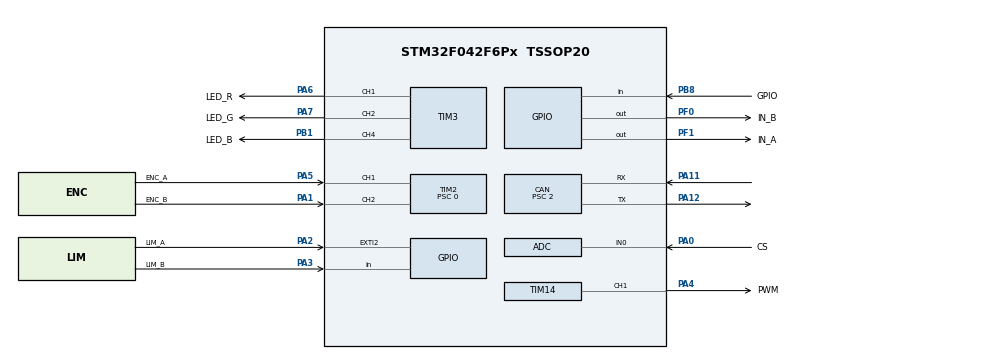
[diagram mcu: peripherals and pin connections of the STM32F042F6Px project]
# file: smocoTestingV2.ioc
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ADC.AWD1LowThreshold=0
ADC.Channel-IN0=ADC_CHANNEL_0
ADC.ClockPrescaler=ADC_CLOCK_ASYNC_DIV1
ADC.ContinuousConvMode=DISABLE
ADC.DMAContinuousRequests=DISABLE
ADC.DataAlign=ADC_DATAALIGN_RIGHT
ADC.DiscontinuousConvMode=DISABLE
ADC.EOCSelection=ADC_EOC_SINGLE_CONV
ADC.EnableAnalogWatchDog=false
ADC.ExternalTrigConv=ADC_SOFTWARE_START
ADC.ExternalTrigConvEdge=ADC_EXTERNALTRIGCONVEDGE_NONE
ADC.LowPowerAutoPowerOff=DISABLE
ADC.LowPowerAutoWait=DISABLE
ADC.NbrOfConversion=1
ADC.NbrOfConversionFlag=1
ADC.Overrun=ADC_OVR_DATA_PRESERVED
ADC.Rank-0\#ChannelRegularConversion=1
ADC.Resolution=ADC_RESOLUTION_12B
ADC.SamplingTime=ADC_SAMPLETIME_1CYCLE_5
ADC.ScanConvMode=ADC_SCAN_DIRECTION_FORWARD
ADC.master=1
CAN.BS1=CAN_BS1_2TQ
CAN.CalculateBaudRate=1000000
CAN.CalculateTimeBit=1000
CAN.CalculateTimeQuantum=250.0
CAN.NART=DISABLE
CAN.Prescaler=2
CAN.SJW=CAN_SJW_2TQ
Mcu.Family=STM32F0
Mcu.Name=STM32F042F6Px
Mcu.Package=TSSOP20
NVIC.EXTI2_3_IRQn=true\:0\:0\:false\:false\:true\:true\:true\:true
NVIC.TIM17_IRQn=true\:1\:0\:true\:false\:true\:true\:true\:true
NVIC.TIM1_CC_IRQn=true\:2\:0\:true\:false\:true\:true\:true\:true
PA0.GPIO_Label=CS
PA0.Mode=IN0
PA0.Signal=ADC_IN0
PA1.GPIO_Label=ENC_B
PA1.Signal=S_TIM2_CH2
PA11.GPIO_PuPd=GPIO_PULLUP
PA11.GPIO_Speed=GPIO_SPEED_FREQ_HIGH
PA11.Mode=CAN_Activate
PA11.Signal=CAN_RX
PA12.GPIO_PuPd=GPIO_NOPULL
PA12.GPIO_Speed=GPIO_SPEED_FREQ_HIGH
PA12.Mode=CAN_Activate
PA12.Signal=CAN_TX
PA13.Mode=Serial_Wire
PA13.Signal=SYS_SWDIO
PA14.Mode=Serial_Wire
PA14.Signal=SYS_SWCLK
PA2.GPIO_Label=LIM_A
PA2.GPIO_ModeDefaultEXTI=GPIO_MODE_IT_FALLING
PA2.GPIO_PuPd=GPIO_PULLUP
PA2.Signal=GPXTI2
PA3.GPIO_Label=LIM_B
PA3.GPIO_PuPd=GPIO_PULLUP
PA3.Signal=GPIO_Input
PA4.GPIO_Label=PWM
PA4.Signal=S_TIM14_CH1
PA5.GPIO_Label=ENC_A
PA5.Signal=S_TIM2_CH1_ETR
PA6.GPIO_Label=LED_R
PA6.Signal=S_TIM3_CH1
PA7.GPIO_Label=LED_G
PA7.Signal=S_TIM3_CH2
PB1.GPIO_Label=LED_B
PB1.Signal=S_TIM3_CH4
PB8.GPIO_Label=GPIO
PB8.Signal=GPIO_Input
PF0-OSC_IN.GPIO_Label=IN_B
PF0-OSC_IN.Signal=GPIO_Output
PF1-OSC_OUT.GPIO_Label=IN_A
PF1-OSC_OUT.Signal=GPIO_Output
ProjectManager.HeapSize=0x200
ProjectManager.StackSize=0x400
ProjectManager.TargetToolchain=STM32CubeIDE
SH.S_TIM14_CH1.0=TIM14_CH1,PWM Generation1 CH1
SH.S_TIM2_CH1_ETR.0=TIM2_CH1,Encoder_Interface
SH.S_TIM2_CH2.0=TIM2_CH2,Encoder_Interface
SH.S_TIM3_CH1.0=TIM3_CH1,PWM Generation1 CH1
SH.S_TIM3_CH2.0=TIM3_CH2,PWM Generation2 CH2
SH.S_TIM3_CH4.0=TIM3_CH4,PWM Generation4 CH4
TIM1.Channel-Output\ Compare1\ No\ Output=TIM_CHANNEL_1
TIM1.Channel-Output\ Compare2\ No\ Output=TIM_CHANNEL_2
TIM1.Channel-Output\ Compare3\ No\ Output=TIM_CHANNEL_3
TIM1.Channel-Output\ Compare4\ No\ Output=TIM_CHANNEL_4
TIM1.ClockDivision=TIM_CLOCKDIVISION_DIV2
TIM1.Period=200-1
TIM1.Prescaler=4000-1
TIM1.Pulse-Output\ Compare2\ No\ Output=50
TIM1.Pulse-Output\ Compare3\ No\ Output=100
TIM1.Pulse-Output\ Compare4\ No\ Output=150
TIM14.AutoReloadPreload=TIM_AUTORELOAD_PRELOAD_DISABLE
TIM14.Channel=TIM_CHANNEL_1
TIM14.ClockDivision=TIM_CLOCKDIVISION_DIV1
TIM14.CounterMode=TIM_COUNTERMODE_UP
TIM14.OC1Preload_PWM=ENABLE
TIM14.OCFastMode_PWM=TIM_OCFAST_DISABLE
TIM14.OCMode_PWM=TIM_OCMODE_PWM1
TIM14.OCPolarity_1=TIM_OCPOLARITY_HIGH
TIM14.Period=65535
TIM14.Prescaler=0
TIM14.Pulse=0
TIM17.ClockDivision=TIM_CLOCKDIVISION_DIV1
TIM17.Period=40000-1
TIM17.Prescaler=4-1
TIM2.AutoReloadPreload=TIM_AUTORELOAD_PRELOAD_DISABLE
TIM2.ClockDivision=TIM_CLOCKDIVISION_DIV1
TIM2.CounterMode=TIM_COUNTERMODE_UP
TIM2.EncoderMode=TIM_ENCODERMODE_TI12
TIM2.IC1Filter=0
TIM2.IC1Polarity=TIM_ICPOLARITY_RISING
TIM2.IC1Prescaler=TIM_ICPSC_DIV1
TIM2.IC1Selection=TIM_ICSELECTION_DIRECTTI
TIM2.IC2Filter=0
TIM2.IC2Polarity=TIM_ICPOLARITY_RISING
TIM2.IC2Prescaler=TIM_ICPSC_DIV1
TIM2.IC2Selection=TIM_ICSELECTION_DIRECTTI
TIM2.Period=4294967295
TIM2.Prescaler=0
TIM2.TIM_MasterOutputTrigger=TIM_TRGO_RESET
TIM2.TIM_MasterSlaveMode=TIM_MASTERSLAVEMODE_DISABLE
TIM3.Channel-PWM\ Generation1\ CH1=TIM_CHANNEL_1
TIM3.Channel-PWM\ Generation2\ CH2=TIM_CHANNEL_2
TIM3.Channel-PWM\ Generation4\ CH4=TIM_CHANNEL_4
VP_SYS_VS_PINREMAP.Mode=PINREMAP
VP_TIM14_VS_ClockSourceINT.Mode=Enable_Timer
VP_TIM17_VS_ClockSourceINT.Mode=Enable_Timer
VP_TIM1_VS_ClockSourceINT.Mode=Internal
VP_TIM1_VS_no_output1.Mode=Output Compare1 No Output
VP_TIM1_VS_no_output2.Mode=Output Compare2 No Output
VP_TIM1_VS_no_output3.Mode=Output Compare3 No Output
VP_TIM1_VS_no_output4.Mode=Output Compare4 No Output
VP_TIM3_VS_ClockSourceINT.Mode=Internal
board=custom

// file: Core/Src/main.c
/* USER CODE BEGIN Header */
/**
  ******************************************************************************
  * @file           : main.c
  * @brief          : Main program body
  ******************************************************************************
  * @attention
  *
  * Copyright (c) 2026 STMicroelectronics.
  * All rights reserved.
  *
  * This software is licensed under terms that can be found in the LICENSE file
  * in the root directory of this software component.
  * If no LICENSE file comes with this software, it is provided AS-IS.
  *
  ******************************************************************************
  */
/* USER CODE END Header */
#include "main.h"
#include "adc.h"
#include "can.h"
#include "tim.h"
#include "gpio.h"

/* USER CODE BEGIN PV */
uint32_t TxMailbox;

CAN_FilterTypeDef sFilterConfig;
//CAN_TxHeaderTypeDef TxHeader;
//CAN_RxHeaderTypeDef RxHeader;
uint8_t RxData[8];
//uint8_t TxData[8];
CAN_TxHeaderTypeDef TxSpeedControlFrameHeader;
CAN_RxHeaderTypeDef RxFeedbackFrameHeader;

uint8_t TxSpeedControlData[4];

uint32_t lastTime = 0;

/* USER CODE END PV */

void SystemClock_Config(void);

int main(void)
{

  /* MCU Configuration--------------------------------------------------------*/

  /* Reset of all peripherals, Initializes the Flash interface and the Systick. */
  HAL_Init();

  /* Configure the system clock */
  SystemClock_Config();

  /* Initialize all configured peripherals */
  MX_GPIO_Init();
  MX_ADC_Init();
  MX_TIM2_Init();
  MX_TIM14_Init();
  MX_TIM1_Init();
  MX_TIM17_Init();
  MX_TIM3_Init();
  MX_CAN_Init();
  /* USER CODE BEGIN 2 */

  int32_t CH4_DC = 0;

  HAL_TIM_PWM_Start(&htim3, TIM_CHANNEL_4);

  uint8_t nodeID = 0;

   TxSpeedControlFrameHeader.IDE = CAN_ID_STD;
   TxSpeedControlFrameHeader.StdId = 0x200 + nodeID;
   TxSpeedControlFrameHeader.RTR = CAN_RTR_DATA;
   TxSpeedControlFrameHeader.DLC = 4;
   uint8_t TxSpeedControlData[4];

   uint32_t speed = 4095; //0xFFFFFFFF
   TxSpeedControlData[0] = speed & 0x000000FF;
   TxSpeedControlData[1] = speed & (0x000000FF << 8);
   TxSpeedControlData[2] = speed & (0x000000FF << 16);
   TxSpeedControlData[3] = speed & (0x000000FF << 24);

  /* The CAN filter configuration */
   sFilterConfig.FilterBank = 0;
   sFilterConfig.FilterMode = CAN_FILTERMODE_IDMASK;
   sFilterConfig.FilterScale = CAN_FILTERSCALE_32BIT;
   sFilterConfig.FilterIdHigh = 0x0000;
   sFilterConfig.FilterIdLow = 0x0000;
   sFilterConfig.FilterMaskIdHigh = 0x0000;
   sFilterConfig.FilterMaskIdLow = 0x0000;
   sFilterConfig.FilterFIFOAssignment = CAN_RX_FIFO0; /* The data will be received in FIFO0 */
   sFilterConfig.FilterActivation = ENABLE;
   sFilterConfig.SlaveStartFilterBank = 14;
   if (HAL_CAN_ConfigFilter(&hcan, &sFilterConfig) != HAL_OK)
   {
   /* Filter configuration Error */
   Error_Handler();
   }
   /* Starting the CAN peripheral */
   if (HAL_CAN_Start(&hcan) != HAL_OK)
   {
   /* Start Error */
   Error_Handler();
   }
   /* Activate CAN RX notification on FIFO0 */
   if (HAL_CAN_ActivateNotification(&hcan, CAN_IT_RX_FIFO0_MSG_PENDING) != HAL_OK)
   {
   /* Notification Error */
   Error_Handler();
   }

   void HAL_CAN_RxFifo0MsgPendingCallback(CAN_HandleTypeDef *CanHandle)
   {
    /* Get RX message */
    if (HAL_CAN_GetRxMessage(CanHandle, CAN_RX_FIFO0, &RxFeedbackFrameHeader, RxData) != HAL_OK)
    {
    /* Reception Error */
    Error_Handler();
    }
   }

  /* USER CODE END 2 */

  /* Infinite loop */
  while (1)
  {

    /* USER CODE BEGIN 3 */

	  	 while(CH4_DC < 65535)
	  	 {
	  	   TIM3->CCR4 = CH4_DC;
	  	   CH4_DC += 70;
	  	   HAL_Delay(1);
	  	}
	  	while(CH4_DC > 0)
	  	{
	  	     TIM3->CCR4 = CH4_DC;
	  	     CH4_DC -= 70;
	  	     HAL_Delay(1);
	  	}

	  	  if (HAL_CAN_AddTxMessage(&hcan, &TxSpeedControlFrameHeader, TxSpeedControlData, &TxMailbox) == HAL_OK)
	  	  {
	  		  HAL_GPIO_WritePin(GPIOF, IN_B_Pin,GPIO_PIN_SET);
	  		  while(HAL_CAN_IsTxMessagePending(&hcan,TxMailbox));
//	  		  HAL_GPIO_WritePin(GPIOF, IN_B_Pin,GPIO_PIN_RESET);

	  	  }

  }
  /* USER CODE END 3 */
}

void SystemClock_Config(void)
{
  RCC_OscInitTypeDef RCC_OscInitStruct = {0};
  RCC_ClkInitTypeDef RCC_ClkInitStruct = {0};

  /** Initializes the RCC Oscillators according to the specified parameters
  * in the RCC_OscInitTypeDef structure.
  */
  RCC_OscInitStruct.OscillatorType = RCC_OSCILLATORTYPE_HSI|RCC_OSCILLATORTYPE_HSI14;
  RCC_OscInitStruct.HSIState = RCC_HSI_ON;
  RCC_OscInitStruct.HSI14State = RCC_HSI14_ON;
  RCC_OscInitStruct.HSICalibrationValue = RCC_HSICALIBRATION_DEFAULT;
  RCC_OscInitStruct.HSI14CalibrationValue = 16;
  RCC_OscInitStruct.PLL.PLLState = RCC_PLL_NONE;
  if (HAL_RCC_OscConfig(&RCC_OscInitStruct) != HAL_OK)
  {
    Error_Handler();
  }

  /** Initializes the CPU, AHB and APB buses clocks
  */
  RCC_ClkInitStruct.ClockType = RCC_CLOCKTYPE_HCLK|RCC_CLOCKTYPE_SYSCLK
                              |RCC_CLOCKTYPE_PCLK1;
  RCC_ClkInitStruct.SYSCLKSource = RCC_SYSCLKSOURCE_HSI;
  RCC_ClkInitStruct.AHBCLKDivider = RCC_SYSCLK_DIV1;
  RCC_ClkInitStruct.APB1CLKDivider = RCC_HCLK_DIV1;

  if (HAL_RCC_ClockConfig(&RCC_ClkInitStruct, FLASH_LATENCY_0) != HAL_OK)
  {
    Error_Handler();
  }
}

/* USER CODE BEGIN 4 */
void HAL_GPIO_EXTI_Callback(uint16_t GPIO_Pin_IN) {
//	if (GPIO_Pin_IN == LIM_A_Pin) {
//		uint32_t currTime = HAL_GetTick();
//		if ((currTime - lastTime) > 3) {
//			lastTime = currTime;
//			HAL_GPIO_TogglePin(GPIOF, IN_B_Pin);
//			while(HAL_CAN_GetTxMailboxesFreeLevel(&hcan) == 1); /* Wait till a Tx mailbox is free. Using while loop instead of HAL_Delay() */
//			if (HAL_CAN_AddTxMessage(&hcan, &TxHeader, TxData, &TxMailbox) != HAL_OK)
//			{
//				/* Transmission request Error */
//				Error_Handler();
//			}
//		}
//	}

}
/* USER CODE END 4 */

void Error_Handler(void)
{
  __disable_irq();
  while (1)
  {
  }
}
